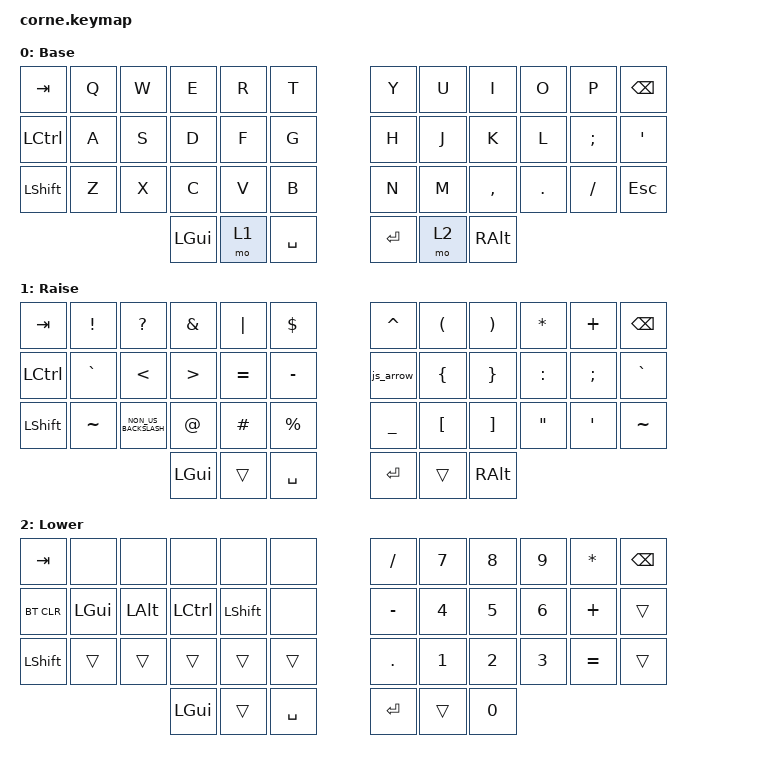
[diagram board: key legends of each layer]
/*
 * Copyright (c) 2020 The ZMK Contributors
 *
 * SPDX-License-Identifier: MIT
 */

#include <behaviors.dtsi>
#include <dt-bindings/zmk/bt.h>
#include <dt-bindings/zmk/keys.h>

/ {
    macros {
        js_arrow: js_arrow {
            compatible = "zmk,behavior-macro";
            #binding-cells = <0>;
            bindings = <&kp EQUAL &kp GREATER_THAN>;
            label = "JS_ARROW";
        };
    };

    keymap {
        compatible = "zmk,keymap";

        default_layer {
            // -----------------------------------------------------------------------------------------
            // |  TAB |  Q  |  W  |  E  |  R  |  T  |   |  Y  |  U   |  I  |  O  |  P  | BKSP |
            // | CTRL |  A  |  S  |  D  |  F  |  G  |   |  H  |  J   |  K  |  L  |  ;  |  '   |
            // | SHFT |  Z  |  X  |  C  |  V  |  B  |   |  N  |  M   |  ,  |  .  |  /  | ESC  |
            //                    | GUI | LWR | SPC |   | ENT | RSE  | ALT |

            display-name = "Base";
            bindings = <
&kp TAB    &kp Q  &kp W  &kp E     &kp R  &kp T        &kp Y    &kp U  &kp I      &kp O    &kp P     &kp BACKSPACE
&kp LCTRL  &kp A  &kp S  &kp D     &kp F  &kp G        &kp H    &kp J  &kp K      &kp L    &kp SEMI  &kp SQT
&kp LSHFT  &kp Z  &kp X  &kp C     &kp V  &kp B        &kp N    &kp M  &kp COMMA  &kp DOT  &kp FSLH  &kp ESC
                         &kp LGUI  &mo 1  &kp SPACE    &kp RET  &mo 2  &kp RALT
            >;
        };

        sym_layer {
            // -----------------------------------------------------------------------------------------
            // |  TAB |  !  |  @  |  #  |  $  |  %  |   |  ^  |  &  |  *  |  (  |  )  | BKSP |
            // | CTRL |     |     |     |     |     |   |  -  |  =  |  [  |  ]  |  \  |  `   |
            // | SHFT |     |     |     |     |     |   |  _  |  +  |  {  |  }  | "|" |  ~   |
            //                    | GUI |     | SPC |   | ENT |     | ALT |

            display-name = "Raise";
            bindings = <
&kp TAB    &kp EXCL   &kp QUESTION          &kp AMPS          &kp PIPE   &kp DOLLAR    &kp CARET  &kp LEFT_PARENTHESIS  &kp RIGHT_PARENTHESIS  &kp ASTERISK       &kp PLUS       &kp BSPC
&kp LCTRL  &kp GRAVE  &kp LESS_THAN         &kp GREATER_THAN  &kp EQUAL  &kp MINUS     &js_arrow  &kp LEFT_BRACE        &kp RIGHT_BRACE        &kp COLON          &kp SEMICOLON  &kp GRAVE
&kp LSHFT  &kp TILDE  &kp NON_US_BACKSLASH  &kp AT            &kp HASH   &kp PRCNT     &kp UNDER  &kp LEFT_BRACKET      &kp RIGHT_BRACKET      &kp DOUBLE_QUOTES  &kp SQT        &kp TILDE
                                            &kp LGUI          &trans     &kp SPACE     &kp RET    &trans                &kp RALT
            >;
        };

        num_layer {
            // -----------------------------------------------------------------------------------------
            // |  TAB |  1  |  2  |  3  |  4  |  5  |   |  6  |  7  |  8  |  9  |  0  | BKSP |
            // | BTCLR| BT1 | BT2 | BT3 | BT4 | BT5 |   | LFT | DWN |  UP | RGT |     |      |
            // | SHFT |     |     |     |     |     |   |     |     |     |     |     |      |
            //                    | GUI |     | SPC |   | ENT |     | ALT |

            display-name = "Lower";
            bindings = <
&kp TAB     &none         &none         &none      &none           &none        &kp SLASH  &kp N7        &kp N8        &kp N9        &kp ASTERISK  &kp BSPC
&bt BT_CLR  &kp LEFT_GUI  &kp LEFT_ALT  &kp LCTRL  &kp LEFT_SHIFT  &none        &kp MINUS  &kp NUMBER_4  &kp N5        &kp NUMBER_6  &kp PLUS      &trans
&kp LSHFT   &trans        &trans        &trans     &trans          &trans       &kp DOT    &kp NUMBER_1  &kp NUMBER_2  &kp NUMBER_3  &kp EQUAL     &trans
                                        &kp LGUI   &trans          &kp SPACE    &kp RET    &trans        &kp N0
            >;
        };

        extra_1 { status = "reserved"; };

        extra_2 { status = "reserved"; };

        extra_3 { status = "reserved"; };
    };
};
